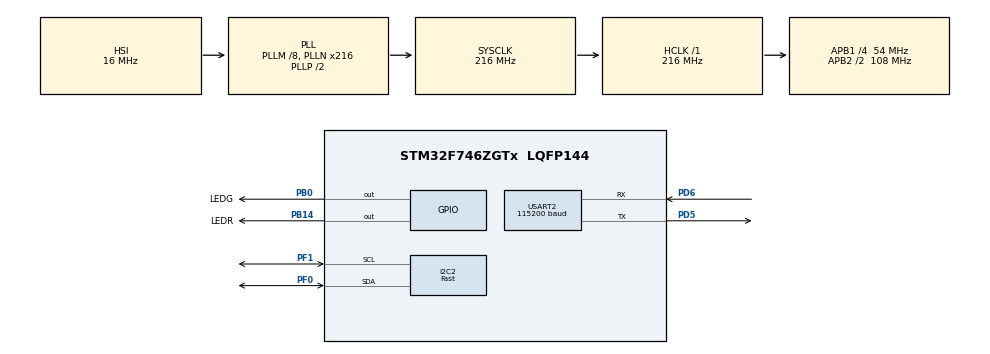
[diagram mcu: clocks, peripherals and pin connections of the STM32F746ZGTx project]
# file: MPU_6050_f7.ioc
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I2C2.Analog_Filter=I2C_ANALOGFILTER_DISABLE
I2C2.I2C_Speed_Mode=I2C_Fast
I2C2.Timing=0x00501E63
Mcu.Family=STM32F7
Mcu.Name=STM32F746ZGTx
Mcu.Package=LQFP144
NVIC.PriorityGroup=NVIC_PRIORITYGROUP_4
NVIC.TIM2_IRQn=true\:0\:0\:false\:false\:true\:true\:true\:true
PB0.GPIO_Label=LEDG
PB0.Signal=GPIO_Output
PB14.GPIO_Label=LEDR
PB14.Signal=GPIO_Output
PC14/OSC32_IN.Mode=LSE-External-Oscillator
PC14/OSC32_IN.Signal=RCC_OSC32_IN
PC15/OSC32_OUT.Mode=LSE-External-Oscillator
PC15/OSC32_OUT.Signal=RCC_OSC32_OUT
PD5.Mode=Asynchronous
PD5.Signal=USART2_TX
PD6.Mode=Asynchronous
PD6.Signal=USART2_RX
PF0.GPIO_Pu=GPIO_PULLUP
PF0.Mode=I2C
PF0.Signal=I2C2_SDA
PF1.GPIO_Pu=GPIO_PULLUP
PF1.Mode=I2C
PF1.Signal=I2C2_SCL
PH0/OSC_IN.Mode=HSE-External-Oscillator
PH0/OSC_IN.Signal=RCC_OSC_IN
PH1/OSC_OUT.Mode=HSE-External-Oscillator
PH1/OSC_OUT.Signal=RCC_OSC_OUT
ProjectManager.HeapSize=0x200
ProjectManager.StackSize=0x400
ProjectManager.TargetToolchain=STM32CubeIDE
RCC.48MHZClocksFreq_Value=24000000
RCC.AHBFreq_Value=216000000
RCC.APB1CLKDivider=RCC_HCLK_DIV4
RCC.APB1Freq_Value=54000000
RCC.APB1TimFreq_Value=108000000
RCC.APB2CLKDivider=RCC_HCLK_DIV2
RCC.APB2Freq_Value=108000000
RCC.APB2TimFreq_Value=216000000
RCC.CortexFreq_Value=216000000
RCC.HCLKFreq_Value=216000000
RCC.HSE_VALUE=8000000
RCC.HSI_VALUE=16000000
RCC.PLLM=8
RCC.PLLMUL=RCC_PLL_MUL9
RCC.PLLN=216
RCC.PRESCALERUSB=RCC_USBCLKSOURCE_PLL_DIV1_5
RCC.SYSCLKFreq_VALUE=216000000
RCC.SYSCLKSource=RCC_SYSCLKSOURCE_PLLCLK
RCC.SYSCLKSourceVirtual=RCC_SYSCLKSOURCE_PLLCLK
RCC.USBFreq_Value=216000000
RCC.VCOOutputFreq_Value=432000000
TIM2.Period=200-1
TIM2.Prescaler=54000-1
TIM2.TIM_MasterOutputTrigger=TIM_TRGO_UPDATE
USART2.BaudRate=115200
USART2.DMADisableonRxErrorParam=ADVFEATURE_DMA_DISABLEONRXERROR
USART2.MSBFirstParam=ADVFEATURE_MSBFIRST_DISABLE
USART2.OverrunDisableParam=ADVFEATURE_OVERRUN_DISABLE
USART2.VirtualMode-Asynchronous=VM_ASYNC
VP_TIM2_VS_ClockSourceINT.Mode=Internal
board=NUCLEO-F746ZG

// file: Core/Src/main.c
/* USER CODE BEGIN Header */
/**
  ******************************************************************************
  * @file           : main.c
  * @brief          : Main program body
  ******************************************************************************
  * @attention
  *
  * Copyright (c) 2025 STMicroelectronics.
  * All rights reserved.
  *
  * This software is licensed under terms that can be found in the LICENSE file
  * in the root directory of this software component.
  * If no LICENSE file comes with this software, it is provided AS-IS.
  *
  ******************************************************************************
  */
/* USER CODE END Header */
#include "main.h"
#include "i2c.h"
#include "tim.h"
#include "usart.h"
#include "gpio.h"

/* USER CODE BEGIN Includes */
#include "mpu_6050.h"
#include "hmc5883.h"
#include "atitude.h"
#include <stdio.h>
#include <string.h>
#include "calib.h"

/* USER CODE END Includes */

/* USER CODE BEGIN PV */
#define NUM_LAT         32          /* faixas em elevação (-90°..+90°)  */
#define NUM_LON         36          /* faixas em azimute  (0°..360°)    */
#define TOTAL_GOMOS     (NUM_LAT * NUM_LON)

MPU_t sensor_data_accel;
HMC_t sensor_data_mag;

uint8_t occ_m[1152] = {0};
uint16_t m_cont = 0;
uint8_t occ_a[1152] = {0};
uint16_t a_cont = 0;
float mx_buf[TOTAL_GOMOS] = {0}, my_buf[TOTAL_GOMOS] = {0}, mz_buf[TOTAL_GOMOS] = {0};
float ax_buf[TOTAL_GOMOS] = {0}, ay_buf[TOTAL_GOMOS] = {0}, az_buf[TOTAL_GOMOS] = {0};

/* USER CODE END PV */

void SystemClock_Config(void);
/* USER CODE BEGIN PFP */
// Preenchimento dos buffers
float norm(float* vet, float* unit)
{
	float n = sqrt(vet[0]*vet[0] + vet[1]*vet[1] + vet[2]*vet[2]);

	unit[0] = vet[0]/n;
	unit[1] = vet[1]/n;
	unit[2] = vet[2]/n;

	return n;
}

uint16_t sphere_index_from_unit(const float u[3])
{
    float phi   = atan2f(u[1], u[0]);  // [-pi, +pi]
    float theta = asinf(u[2]);         // [-pi/2, +pi/2]

    float lon_f = (phi + (float)3.1415) / (2.0f * (float)3.1415);
    float lat_f = (theta + (float)1.57079) / (float)3.1415;

    if (lon_f >= 1.0f) lon_f = nextafterf(1.0f, 0.0f);
    if (lat_f >= 1.0f) lat_f = nextafterf(1.0f, 0.0f);

    int lon_idx = (int)(lon_f * NUM_LON);
    int lat_idx = (int)(lat_f * NUM_LAT);

    if (lon_idx < 0) lon_idx = 0; else if (lon_idx >= NUM_LON) lon_idx = NUM_LON - 1;
    if (lat_idx < 0) lat_idx = 0; else if (lat_idx >= NUM_LAT) lat_idx = NUM_LAT - 1;

    return (uint16_t)(lat_idx * NUM_LON + lon_idx);
}

void add_reading(float mx, float my, float mz,
                 float ax, float ay, float az)
{
	uint8_t flag_a = 1, flag_m = 1;
    float m[3] = {mx, my, mz}, a[3] = {ax, ay, az};

    float u[3];
    if (norm(a, u) > 1.1)
    {
    	flag_a = 0;
    }
    uint16_t idx = sphere_index_from_unit(u);

    if (occ_a[idx] == 1)
    {
    	flag_a = 0;
    }

    if(flag_a ==1)
	{
		ax_buf[idx] = sensor_data_accel.accel_x;
		ay_buf[idx] = sensor_data_accel.accel_y;
		az_buf[idx] = sensor_data_accel.accel_z;

		occ_a[idx] = 1;
		a_cont ++;
	}

    norm(m, u);
	idx = sphere_index_from_unit(u);

	if (occ_m[idx] == 1)
	{
		flag_m = 0;
	}

	if(flag_m == 1)
	{
		mx_buf[idx] = sensor_data_mag.mag_x;
		my_buf[idx] = sensor_data_mag.mag_y;
		mz_buf[idx] = sensor_data_mag.mag_z;

		occ_m[idx] = 1;
		m_cont ++;
	}
}

/* USER CODE END PFP */

/* USER CODE BEGIN 0 */

uint8_t read[3] = {0};
//uint8_t who_I_am = 0;
uint8_t send[100] = {0};

uint8_t rx_data = 0;
uint8_t flag = 0;

double atitude[3][3];
double qua[4] = {0};

double v1[3] = {-0.107014, -0.158543, -0.090733}, v2[3] = {-0.017578, 0.031250, -1.036133};
double r1[3], r2[3], r3[3];
double Mref[3][3];

double w1[3], w2[3];
double s1[3], s2[3], s3[3];
double Mobs[3][3];

extern float mx_buf[1152], my_buf[1152], mz_buf[1152];
extern uint16_t a_cont, m_cont;

float p[9] = {1.009117353060959, 1.004116713879909, 0.922329558591251, -0.107366293055073, -0.214647257415079, 0.080163780683231, 0.010354797723851, -0.011935359803336, -0.004283295682346};
//float p[9] = {1.002704862343891, 1.007353828162894, 0.937386308228489, -0.117514288311261, -0.220090092807972, 0.073853367281422, 0.032440451405157, -0.018389446079523, -0.004882156264793};
float q[9] = {1.008005571427566, 0.998467621630478, 1.006259699083444, 0.024907087483453, -0.005376705308910, -0.021881232306800, 0.008676745628079, -0.002854314441100, 0.008449724038157};

/* USER CODE END 0 */

int main(void)
{

  /* MCU Configuration--------------------------------------------------------*/

  /* Reset of all peripherals, Initializes the Flash interface and the Systick. */
  HAL_Init();

  /* Configure the system clock */
  SystemClock_Config();

  /* Initialize all configured peripherals */
  MX_GPIO_Init();
  MX_I2C2_Init();
  MX_USART2_UART_Init();
  MX_TIM2_Init();
  /* USER CODE BEGIN 2 */
  config_mpu6050(&hi2c2);
  config_mpu6050(&hi2c2);
  //HAL_I2C_Mem_Read(&hi2c2, mpu_6050_add, who_am_i_mpu, 1, &who_I_am, 1, 10);

  HAL_I2C_Mem_Read(&hi2c2, mpu_6050_add, pwr_mng1_mpu, 1, read, 1, 10);
  HAL_I2C_Mem_Read(&hi2c2, mpu_6050_add, sample_div_reg_mpu, 1, &read[1], 1, 10);
  HAL_I2C_Mem_Read(&hi2c2, mpu_6050_add, config_reg_mpu, 1, &read[2], 1, 10);

  read_id_hmc(&hi2c2);
  config_hmc(&hi2c2);

  HAL_Delay(2000);

  read_mpu6050(&hi2c2, &sensor_data_accel);
  read_hmc(&hi2c2, &sensor_data_mag);

  float norm = sqrtf(sensor_data_mag.mag_x_calib*sensor_data_mag.mag_x_calib + sensor_data_mag.mag_y_calib*sensor_data_mag.mag_y_calib + sensor_data_mag.mag_z_calib*sensor_data_mag.mag_z_calib);
  v1[0] = sensor_data_mag.mag_x_calib/norm;
  v1[1] = sensor_data_mag.mag_y_calib/norm;
  v1[2] = sensor_data_mag.mag_z_calib/norm;

  norm = sqrt(sensor_data_accel.accel_x*sensor_data_accel.accel_x + sensor_data_accel.accel_y*sensor_data_accel.accel_y + sensor_data_accel.accel_z*sensor_data_accel.accel_z);
  v2[0] = sensor_data_accel.accel_x/norm;
  v2[1] = sensor_data_accel.accel_y/norm;
  v2[2] = sensor_data_accel.accel_z/norm;

  cria_triad(v1, v2, r1, r2, r3);
  vet2mat(r1, r2, r3, Mref);

  //HAL_TIM_Base_Start_IT(&htim2);

  /* USER CODE END 2 */

  /* Infinite loop */
  /* USER CODE BEGIN WHILE */
  while (1)
  {
	read_mpu6050(&hi2c2, &sensor_data_accel);
	read_hmc(&hi2c2, &sensor_data_mag);

	norm = sqrt(sensor_data_mag.mag_x_calib*sensor_data_mag.mag_x_calib + sensor_data_mag.mag_y_calib*sensor_data_mag.mag_y_calib + sensor_data_mag.mag_z_calib*sensor_data_mag.mag_z_calib);
	w1[0] = sensor_data_mag.mag_x_calib/norm;
	w1[1] = sensor_data_mag.mag_y_calib/norm;
	w1[2] = sensor_data_mag.mag_z_calib/norm;

	norm = sqrt(sensor_data_accel.accel_x*sensor_data_accel.accel_x + sensor_data_accel.accel_y*sensor_data_accel.accel_y + sensor_data_accel.accel_z*sensor_data_accel.accel_z);
	w2[0] = sensor_data_accel.accel_x/norm;
	w2[1] = sensor_data_accel.accel_y/norm;
	w2[2] = sensor_data_accel.accel_z/norm;

	cria_triad(w1, w2, s1, s2, s3);
	vet2mat(s1, s2, s3, Mobs);
	atitude_determination(Mref, Mobs, atitude);

	HAL_UART_Receive(&huart2, &rx_data, 1, 100);

	if(rx_data == 'd')
	{
		rx_data = 0;
		flag = 1;
	}
	if(rx_data == 'c')
	{
		rx_data = 0;
		flag = 2;
	}
	if(rx_data == 'g')
	{
		rx_data = 0;
		flag = 3;
	}
	if(rx_data == '@')
	{
		rx_data = 0;
		flag = 4;
	}
	if(rx_data == 'p')
	{
		rx_data = 0;
		flag = 5;
	}
	if(rx_data == 'm')
	{
		rx_data = 0;
		flag = 6;
	}
	if(rx_data == 'a')
	{
		rx_data = 0;
		flag = 7;
	}

	if(flag == 2)
	{
		HAL_TIM_Base_Stop_IT(&htim2);
		//ETS(mx_buf, my_buf, mz_buf, p);
		for(uint8_t i = 0; i < 10; i++)
		{
			sprintf((char*)send, "%f\n", p[i]);
			HAL_UART_Transmit(&huart2, send, strlen((char*)send), 1);
		}
		flag = 0;
		//HAL_TIM_Base_Start_IT(&htim2);
	}
	if(flag == 3)
	{
		sprintf((char*)send, "%d\n\r", m_cont);
		HAL_UART_Transmit(&huart2, send, strlen((char*)send), 1);
		flag = 0;
	}
	if(flag == 4)
	{
		//HAL_TIM_Base_Start_IT(&htim2);
		flag = 0;
		//sprintf((char*)send, "%d %d %d %d %d %d", sensor_data_mag.mag_x_nude, sensor_data_mag.mag_y_nude, sensor_data_mag.mag_z_nude, sensor_data_accel.accel_x_nude, sensor_data_accel.accel_y_nude, sensor_data_accel.accel_z_nude);
		//HAL_UART_Transmit(&huart2, send, strlen((char*)send), 100);

		mat2quaternion(atitude, qua);
		sprintf((char*)send, "%f, %f, %f, %f\n\r", qua[0], qua[1], qua[2], qua[3]);
		HAL_UART_Transmit(&huart2, send, strlen((char*)send), 100);
	}
	if(flag == 5)
	{
		HAL_TIM_Base_Stop_IT(&htim2);
		flag = 0;
	}
	if(flag == 6)
	{
		HAL_TIM_Base_Stop_IT(&htim2);
		sprintf((char*)send, "%d\n\r", m_cont);
		HAL_UART_Transmit(&huart2, send, strlen((char*)send), 1);

		for(uint16_t i = 0; i < TOTAL_GOMOS; i++)
		{
			sprintf((char*)send, "%f, %f, %f\n\r", mx_buf[i], my_buf[i], mz_buf[i]);
			HAL_UART_Transmit(&huart2, send, strlen((char*)send), 20);
		}

		sprintf((char*)send, "Fim da trasmissão dos dados\n\r");
		HAL_UART_Transmit(&huart2, send, strlen((char*)send), 50);

		flag = 0;
	}
	if(flag == 7)
	{
		HAL_TIM_Base_Stop_IT(&htim2);
		sprintf((char*)send, "%d\n\r", a_cont);
		HAL_UART_Transmit(&huart2, send, strlen((char*)send), 1);

		for(uint16_t i = 0; i < TOTAL_GOMOS; i++)
		{
			sprintf((char*)send, "%f, %f, %f\n\r", ax_buf[i], ay_buf[i], az_buf[i]);
			HAL_UART_Transmit(&huart2, send, strlen((char*)send), 20);
		}

		sprintf((char*)send, "Fim da trasmissão dos dados\n\r");
		HAL_UART_Transmit(&huart2, send, strlen((char*)send), 50);

		flag = 0;
	}

	//Implementar o envia dado do mag e o envia dado do accel
	//Implementar o start do TIM.

	if(flag == 1)
	{
		send_atitude(atitude);

		//Código para determinação de atitude
		/*w1[0] = sensor_data_mag.mag_x;
		w1[1] = sensor_data_mag.mag_y;
		w1[2] = sensor_data_mag.mag_z;

		w2[0] = sensor_data_accel.accel_x;
		w2[1] = sensor_data_accel.accel_y;
		w2[2] = sensor_data_accel.accel_z;

		cria_triad(w1, w2, s1, s2, s3);
		vet2mat(s1, s2, s3, Mobs);
		atitude_determination(Mref, Mobs, atitude);

		send_atitude(atitude);*/
		flag = 0;
	}

	if(m_cont >= 1152)
	{
		HAL_GPIO_WritePin(GPIOB, GPIO_PIN_0, GPIO_PIN_SET);
	}
	if(a_cont >= 1152)
	{
		HAL_GPIO_WritePin(GPIOB, GPIO_PIN_14, GPIO_PIN_SET);
	}

    /* USER CODE END WHILE */

  }
}

void SystemClock_Config(void)
{
  RCC_OscInitTypeDef RCC_OscInitStruct = {0};
  RCC_ClkInitTypeDef RCC_ClkInitStruct = {0};

  /** Configure LSE Drive Capability
  */
  HAL_PWR_EnableBkUpAccess();

  /** Configure the main internal regulator output voltage
  */
  __HAL_RCC_PWR_CLK_ENABLE();
  __HAL_PWR_VOLTAGESCALING_CONFIG(PWR_REGULATOR_VOLTAGE_SCALE1);

  /** Initializes the RCC Oscillators according to the specified parameters
  * in the RCC_OscInitTypeDef structure.
  */
  RCC_OscInitStruct.OscillatorType = RCC_OSCILLATORTYPE_HSI;
  RCC_OscInitStruct.HSIState = RCC_HSI_ON;
  RCC_OscInitStruct.HSICalibrationValue = RCC_HSICALIBRATION_DEFAULT;
  RCC_OscInitStruct.PLL.PLLState = RCC_PLL_ON;
  RCC_OscInitStruct.PLL.PLLSource = RCC_PLLSOURCE_HSI;
  RCC_OscInitStruct.PLL.PLLM = 8;
  RCC_OscInitStruct.PLL.PLLN = 216;
  RCC_OscInitStruct.PLL.PLLP = RCC_PLLP_DIV2;
  RCC_OscInitStruct.PLL.PLLQ = 2;
  if (HAL_RCC_OscConfig(&RCC_OscInitStruct) != HAL_OK)
  {
    Error_Handler();
  }

  /** Activate the Over-Drive mode
  */
  if (HAL_PWREx_EnableOverDrive() != HAL_OK)
  {
    Error_Handler();
  }

  /** Initializes the CPU, AHB and APB buses clocks
  */
  RCC_ClkInitStruct.ClockType = RCC_CLOCKTYPE_HCLK|RCC_CLOCKTYPE_SYSCLK
                              |RCC_CLOCKTYPE_PCLK1|RCC_CLOCKTYPE_PCLK2;
  RCC_ClkInitStruct.SYSCLKSource = RCC_SYSCLKSOURCE_PLLCLK;
  RCC_ClkInitStruct.AHBCLKDivider = RCC_SYSCLK_DIV1;
  RCC_ClkInitStruct.APB1CLKDivider = RCC_HCLK_DIV4;
  RCC_ClkInitStruct.APB2CLKDivider = RCC_HCLK_DIV2;

  if (HAL_RCC_ClockConfig(&RCC_ClkInitStruct, FLASH_LATENCY_7) != HAL_OK)
  {
    Error_Handler();
  }
}

/* USER CODE BEGIN 4 */
void HAL_TIM_PeriodElapsedCallback(TIM_HandleTypeDef *htim)
{
	read_mpu6050(&hi2c2, &sensor_data_accel);
	read_hmc(&hi2c2, &sensor_data_mag);

	add_reading(sensor_data_mag.mag_x_calib, sensor_data_mag.mag_y_calib, sensor_data_mag.mag_z_calib, sensor_data_accel.accel_x_calib, sensor_data_accel.accel_y_calib, sensor_data_accel.accel_z_calib);
	/*double norm = sqrt(sensor_data_mag.mag_x_calib*sensor_data_mag.mag_x_calib + sensor_data_mag.mag_y_calib*sensor_data_mag.mag_y_calib + sensor_data_mag.mag_z_calib*sensor_data_mag.mag_z_calib);
	w1[0] = sensor_data_mag.mag_x_calib/norm;
	w1[1] = sensor_data_mag.mag_y_calib/norm;
	w1[2] = sensor_data_mag.mag_z_calib/norm;

	w2[0] = sensor_data_accel.accel_x;
	w2[1] = sensor_data_accel.accel_y;
	w2[2] = sensor_data_accel.accel_z;

	cria_triad(w1, w2, s1, s2, s3);
	vet2mat(s1, s2, s3, Mobs);
	atitude_determination(Mref, Mobs, atitude);

	send_atitude(atitude);*/

	//mat2quaternion(atitude, qua);
	//sprintf((char*)send, "%f, %f, %f, %f\n\r", qua[0], qua[1], qua[2], qua[3]);
	//HAL_UART_Transmit(&huart2, send, strlen((char*)send), 100);

	sprintf((char*)send, "%f, %f, %f\n\r", sensor_data_accel.accel_x, sensor_data_accel.accel_y, sensor_data_accel.accel_z);
	HAL_UART_Transmit(&huart2, send, strlen((char*)send), 100);

	//sprintf((char*)send, "%f, %f, %f\n\r", sensor_data_mag.mag_x_calib, sensor_data_mag.mag_y_calib, sensor_data_mag.mag_z_calib);
	//HAL_UART_Transmit(&huart2, send, strlen((char*)send), 100);

	sprintf((char*)send, "%f, %f, %f\n\r", sensor_data_mag.mag_x, sensor_data_mag.mag_y, sensor_data_mag.mag_z);
	HAL_UART_Transmit(&huart2, send, strlen((char*)send), 100);

}

void HAL_UART_RxCpltCallback(UART_HandleTypeDef *huart)
{
	if(rx_data == '$')
	{
		flag = 1;
	}
}
/* USER CODE END 4 */

void Error_Handler(void)
{
  __disable_irq();
  while (1)
  {
  }
}
